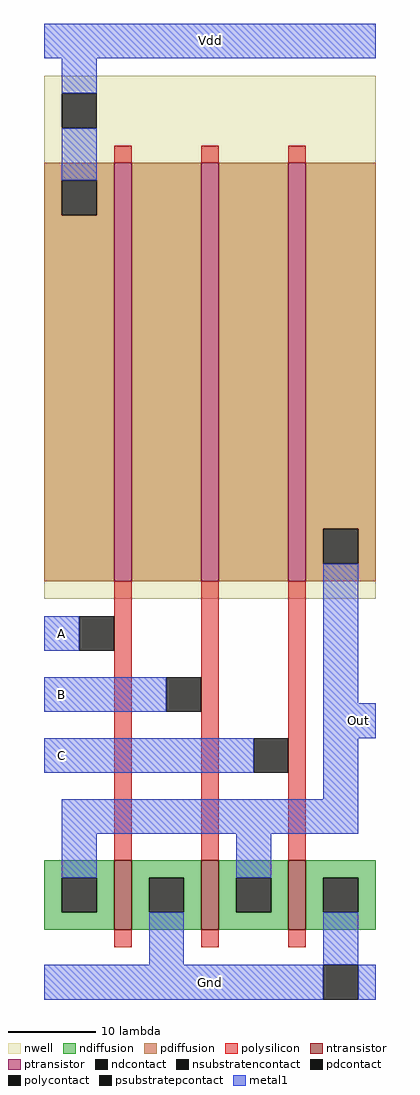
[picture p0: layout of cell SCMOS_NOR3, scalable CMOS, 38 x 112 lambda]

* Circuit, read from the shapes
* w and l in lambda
.subckt SCMOS_NOR3 A B C Gnd Out Vdd
M1 Gnd A Out Gnd nfet w=8 l=2
M2 Out B Gnd Gnd nfet w=8 l=2
M3 Gnd C Out Gnd nfet w=8 l=2
M4 n1 A Vdd Vdd pfet w=48 l=2
M5 n2 B n1 Vdd pfet w=48 l=2
M6 Out C n2 Vdd pfet w=48 l=2
.ends

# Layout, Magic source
magic
tech scmos
<< nwell >>
rect -14 26 24 86
<< polysilicon >>
rect -6 76 -4 78
rect 4 76 6 78
rect 14 76 16 78
rect -6 -4 -4 28
rect 4 -4 6 28
rect 14 -4 16 28
rect -6 -14 -4 -12
rect 4 -14 6 -12
rect 14 -14 16 -12
<< ndiffusion >>
rect -14 -6 -6 -4
rect -14 -10 -12 -6
rect -8 -10 -6 -6
rect -14 -12 -6 -10
rect -4 -6 4 -4
rect -4 -10 -2 -6
rect 2 -10 4 -6
rect -4 -12 4 -10
rect 6 -6 14 -4
rect 6 -10 8 -6
rect 12 -10 14 -6
rect 6 -12 14 -10
rect 16 -6 24 -4
rect 16 -10 18 -6
rect 22 -10 24 -6
rect 16 -12 24 -10
<< pdiffusion >>
rect -14 74 -6 76
rect -14 70 -12 74
rect -8 70 -6 74
rect -14 28 -6 70
rect -4 28 4 76
rect 6 28 14 76
rect 16 34 24 76
rect 16 30 18 34
rect 22 30 24 34
rect 16 28 24 30
<< metal1 >>
rect -14 88 24 92
rect -12 84 -8 88
rect -12 74 -8 80
rect -14 20 -10 24
rect -14 13 0 17
rect 18 14 22 30
rect 18 10 24 14
rect -14 6 10 10
rect 18 3 22 10
rect -12 -1 22 3
rect -12 -6 -8 -1
rect 8 -6 12 -1
rect -2 -16 2 -10
rect 18 -16 22 -10
rect -14 -20 18 -16
rect 22 -20 24 -16
<< ntransistor >>
rect -6 -12 -4 -4
rect 4 -12 6 -4
rect 14 -12 16 -4
<< ptransistor >>
rect -6 28 -4 76
rect 4 28 6 76
rect 14 28 16 76
<< polycontact >>
rect -10 20 -6 24
rect 0 13 4 17
rect 10 6 14 10
<< ndcontact >>
rect -12 -10 -8 -6
rect -2 -10 2 -6
rect 8 -10 12 -6
rect 18 -10 22 -6
<< pdcontact >>
rect -12 70 -8 74
rect 18 30 22 34
<< psubstratepcontact >>
rect 18 -20 22 -16
<< nsubstratencontact >>
rect -12 80 -8 84
<< labels >>
rlabel metal1 5 90 5 90 5 Vdd
rlabel metal1 5 -18 5 -18 1 Gnd
rlabel metal1 -12 22 -12 22 3 A
rlabel metal1 -12 15 -12 15 3 B
rlabel metal1 -12 8 -12 8 3 C
rlabel metal1 22 12 22 12 7 Out
<< end >>
